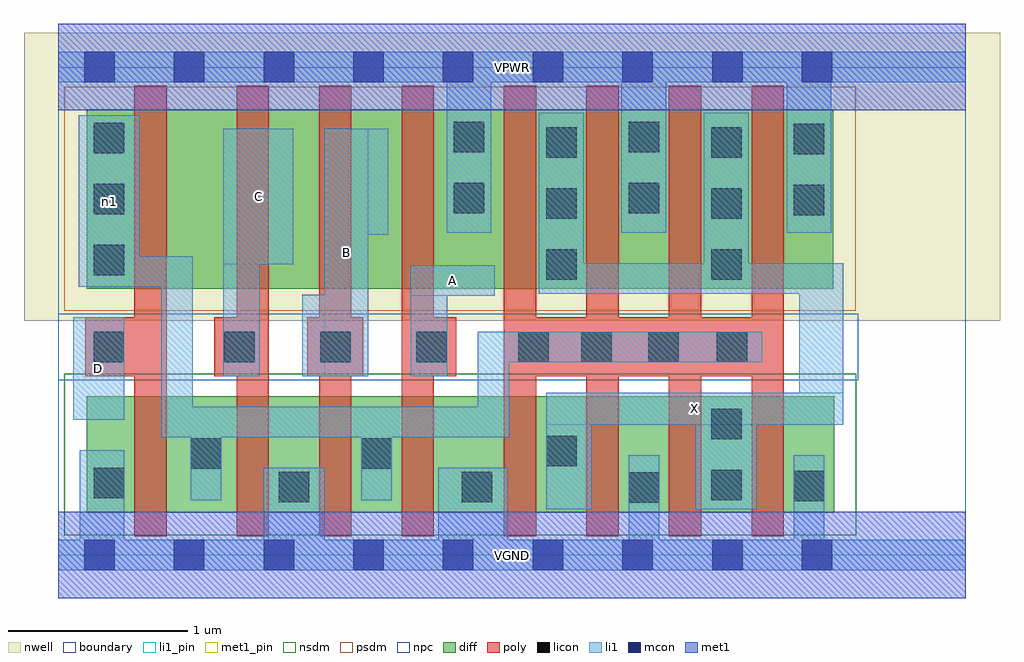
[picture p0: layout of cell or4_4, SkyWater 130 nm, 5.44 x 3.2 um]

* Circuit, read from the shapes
.subckt or4_4 A B C D VGND VPWR X n1
XM1 n1 D VGND VSUBS sky130_fd_pr__nfet_01v8 w=0.65 l=0.18
XM2 VGND C n1 VSUBS sky130_fd_pr__nfet_01v8 w=0.65 l=0.18
XM3 n1 B VGND VSUBS sky130_fd_pr__nfet_01v8 w=0.65 l=0.18
XM4 VGND A n1 VSUBS sky130_fd_pr__nfet_01v8 w=0.65 l=0.18
XM5 X n1 VGND VSUBS sky130_fd_pr__nfet_01v8 w=0.65 l=0.18 m=4
XM6 n2 D n1 n3 sky130_fd_pr__pfet_01v8 w=1 l=0.18
XM7 n4 C n2 n3 sky130_fd_pr__pfet_01v8 w=1 l=0.18
XM8 n5 B n4 n3 sky130_fd_pr__pfet_01v8 w=1 l=0.18
XM9 VPWR A n5 n3 sky130_fd_pr__pfet_01v8 w=1 l=0.18
XM10 X n1 VPWR n3 sky130_fd_pr__pfet_01v8 w=1 l=0.18 m=4
.ends

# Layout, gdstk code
import gdstk
lib = gdstk.Library(unit=1e-6, precision=1e-09)
def R(c, l, rs):  # rectangles x0, y0, x1, y1
    for r in rs: c.add(gdstk.rectangle(r[:2], r[2:], *l))
def A(c, l, x, y, w, h, nx, ny, dx, dy):  # array of equal rectangles
    R(c, l, [(x+i*dx, y+j*dy, x+i*dx+w, y+j*dy+h) for i in range(nx) for j in range(ny)])
nwell = (64, 20)
diff = (65, 20)
poly = (66, 20)
licon = (66, 44)
li1_pin = (67, 16)
li1 = (67, 20)
mcon = (67, 44)
met1_pin = (68, 16)
met1 = (68, 20)
nsdm = (93, 44)
psdm = (94, 20)
npc = (95, 20)
boundary = (235, 4)

or4_4 = lib.new_cell('or4_4')
R(or4_4, nwell, [(-0.19,1.305,5.25,2.91), (0,1.305,5.06,2.91)])
R(or4_4, diff, [(0.16,0.235,4.325,0.885), (0.16,1.485,4.32,2.485)])
A(or4_4, poly, 0.995, 0.105, 0.18, 2.51, 3, 1, 0.46, 0)
A(or4_4, poly, 2.485, 0.105, 0.18, 2.51, 4, 1, 0.46, 0)
R(or4_4, poly, [(0.425,0.105,0.605,2.615), (0.15,0.995,0.605,1.325), (0.87,0.995,1.175,1.325), (1.39,0.995,1.7,1.325), (1.915,0.995,2.22,1.325), (2.485,0.995,4.045,1.325)])
A(or4_4, licon, 0.925, 1.075, 0.17, 0.17, 3, 1, 0.535, 0)
A(or4_4, licon, 2.72, 1.535, 0.17, 0.17, 1, 3, 0, 0.34)
A(or4_4, licon, 3.64, 1.535, 0.17, 0.17, 1, 3, 0, 0.34)
A(or4_4, licon, 0.2, 1.56, 0.17, 0.17, 1, 3, 0, 0.34)
R(or4_4, licon, [(3.18,0.29,3.35,0.46), (1.23,0.295,1.4,0.465), (2.25,0.295,2.42,0.465), (4.1,0.3,4.27,0.47), (3.64,0.305,3.81,0.475), (0.2,0.315,0.37,0.485), (0.74,0.48,0.91,0.65), (1.69,0.48,1.86,0.65), (2.72,0.495,2.89,0.665), (3.64,0.645,3.81,0.815), (0.2,1.075,0.37,1.245), (2.565,1.075,2.735,1.245), (2.915,1.075,3.085,1.245), (3.29,1.075,3.46,1.245), (3.67,1.075,3.84,1.245), (4.1,1.895,4.27,2.065), (2.205,1.905,2.375,2.075), (3.18,1.905,3.35,2.075), (4.1,2.235,4.27,2.405), (2.205,2.245,2.375,2.415), (3.18,2.245,3.35,2.415)])
R(or4_4, li1_pin, [(2.72,0.725,4.375,0.905), (0.085,0.755,0.37,1.325), (1.485,0.995,1.73,2.375), (1.965,1.445,2.435,1.615), (0.92,1.62,1.31,2.375)])
R(or4_4, li1, [(0,-0.085,5.06,0.085), (0.12,-0.085,0.37,0.585), (1.145,-0.085,1.485,0.485), (2.12,-0.085,2.505,0.485), (3.18,-0.085,3.35,0.555), (4.1,-0.085,4.27,0.555), (2.72,0.255,2.975,0.905), (3.555,0.255,3.895,0.905), (0.74,0.305,0.91,0.825), (1.69,0.305,1.86,0.825), (0.575,0.655,2.515,0.825), (0.575,0.655,0.75,1.665), (2.34,0.655,2.515,1.245), (2.72,0.725,4.375,0.905), (4.13,0.725,4.375,1.625), (0.085,0.755,0.37,1.325), (0.92,0.995,1.125,2.375), (1.36,0.995,1.73,1.45), (1.485,0.995,1.73,2.375), (1.965,0.995,2.17,1.615), (2.34,1.075,3.925,1.245), (1.965,1.445,2.435,1.615), (2.68,1.455,4.375,1.625), (2.68,1.455,2.93,2.465), (3.6,1.455,3.85,2.465), (0.115,1.495,0.455,2.45), (0.115,1.495,0.75,1.665), (0.92,1.62,1.31,2.375), (1.485,1.785,1.84,2.375), (2.165,1.795,2.415,2.805), (3.14,1.795,3.39,2.805), (4.06,1.795,4.31,2.805), (0,2.635,5.06,2.805)])
A(or4_4, mcon, 0.145, -0.085, 0.17, 0.17, 9, 2, 0.5, 2.72)
R(or4_4, met1_pin, [(0,-0.24,5.06,0.24), (0,2.48,5.06,2.96)])
R(or4_4, met1, [(0,-0.24,5.06,0.24), (0,2.48,5.06,2.96)])
R(or4_4, nsdm, [(0.035,0.11,4.45,1.01)])
R(or4_4, psdm, [(0.035,1.36,4.445,2.61)])
R(or4_4, npc, [(0,0.975,4.46,1.345)])
R(or4_4, boundary, [(0,0,5.06,2.72)])
or4_4.add(gdstk.Label('A', (2.2,1.53), layer=67, texttype=5))
or4_4.add(gdstk.Label('B', (1.607,1.685), layer=67, texttype=5))
or4_4.add(gdstk.Label('C', (1.115,1.997), layer=67, texttype=5))
or4_4.add(gdstk.Label('D', (0.227,1.04), layer=67, texttype=5))
or4_4.add(gdstk.Label('X', (3.547,0.815), layer=67, texttype=5))
or4_4.add(gdstk.Label('n1', (0.285,1.972), layer=67, texttype=5))
or4_4.add(gdstk.Label('VPWR', (2.53,2.72), layer=68, texttype=5))
or4_4.add(gdstk.Label('VGND', (2.53,0), layer=68, texttype=5))
or4_4.add(gdstk.Label('A', (2.2,1.53), layer=67, texttype=16))
or4_4.add(gdstk.Label('B', (1.607,1.685), layer=67, texttype=16))
or4_4.add(gdstk.Label('C', (1.115,1.997), layer=67, texttype=16))
or4_4.add(gdstk.Label('D', (0.227,1.04), layer=67, texttype=16))
or4_4.add(gdstk.Label('X', (3.547,0.815), layer=67, texttype=16))
or4_4.add(gdstk.Label('VPWR', (2.53,2.72), layer=68, texttype=16))
or4_4.add(gdstk.Label('VGND', (2.53,0), layer=68, texttype=16))

lib.write_gds('or4_4.gds')
